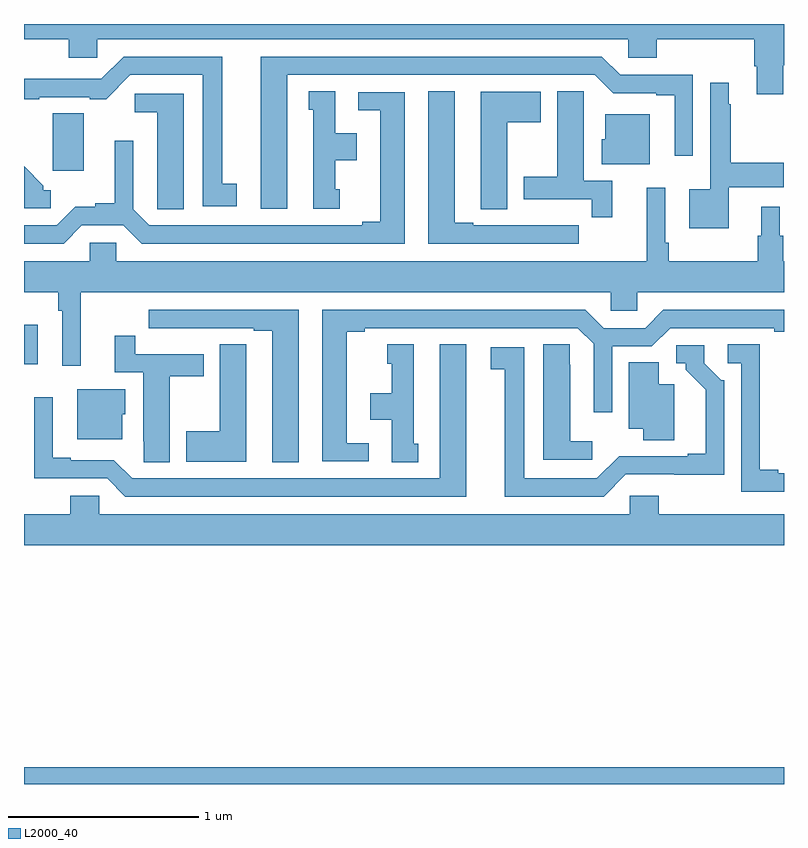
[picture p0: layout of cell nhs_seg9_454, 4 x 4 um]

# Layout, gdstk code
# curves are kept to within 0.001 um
import gdstk
lib = gdstk.Library(unit=1e-6, precision=1e-09)
def R(c, l, rs):  # rectangles x0, y0, x1, y1
    for r in rs: c.add(gdstk.rectangle(r[:2], r[2:], *l))
def P(c, l, *ps):  # polygons
    for p in ps: c.add(gdstk.Polygon(p, *l))
L2000_40 = (2000, 40)

nhs_seg9_454 = lib.new_cell('nhs_seg9_454')
R(nhs_seg9_454, L2000_40, [(133,1192.5,137,1192.588), (133,1194.71,133.072,1194.916)])
P(nhs_seg9_454, L2000_40, [(136.996,1196.283),(137,1196.283),(137,1196.5),(133,1196.5),(133,1196.42),(133.235,1196.42),(133.235,1196.322),(133.386,1196.322),(133.386,1196.42),(136.179,1196.42),(136.179,1196.322),(136.331,1196.322),(136.331,1196.42),(136.844,1196.42),(136.844,1196.278),(136.856,1196.278),(136.856,1196.13),(136.996,1196.13)],
  [(134.386,1196.232),(136.005,1196.232),(136.101,1196.136),(136.328,1196.136),(136.328,1196.124),(136.424,1196.124),(136.424,1195.806),(136.521,1195.806),(136.521,1196.232),(136.137,1196.232),(136.041,1196.328),(134.246,1196.328),(134.246,1195.527),(134.386,1195.527)],
  [(134.119,1195.658),(134.044,1195.658),(134.044,1196.328),(133.524,1196.328),(133.407,1196.211),(133.151,1196.211),(133.151,1196.213),(133,1196.213),(133,1196.103),(133.081,1196.103),(133.081,1196.115),(133.346,1196.115),(133.346,1196.104),(133.432,1196.104),(133.56,1196.232),(133.94,1196.232),(133.94,1195.542),(134.119,1195.542)],
  [(136.708,1195.64),(136.999,1195.64),(136.999,1195.77),(136.72,1195.77),(136.72,1196.078),(136.708,1196.078),(136.708,1196.191),(136.611,1196.191),(136.611,1195.63),(136.502,1195.63),(136.502,1195.424),(136.708,1195.424)],
  [(134.662,1195.629),(134.638,1195.629),(134.638,1195.784),(134.752,1195.784),(134.752,1195.924),(134.638,1195.924),(134.638,1196.147),(134.498,1196.147),(134.498,1196.049),(134.522,1196.049),(134.522,1195.527),(134.662,1195.527)],
  [(136.097,1195.674),(135.946,1195.674),(135.946,1196.036),(135.945,1196.036),(135.945,1196.147),(135.806,1196.147),(135.806,1195.695),(135.629,1195.695),(135.629,1195.578),(135.988,1195.578),(135.988,1195.482),(136.097,1195.482)],
  [(135.919,1195.44),(135.806,1195.44),(135.806,1195.441),(135.64,1195.441),(135.64,1195.44),(135.364,1195.44),(135.364,1195.455),(135.268,1195.455),(135.268,1196.147),(135.128,1196.147),(135.128,1195.344),(135.919,1195.344)],
  [(135.544,1195.984),(135.721,1195.984),(135.721,1196.143),(135.404,1196.143),(135.404,1195.633),(135.405,1195.633),(135.405,1195.525),(135.544,1195.525)],
  [(133.305,1195.44),(133.523,1195.44),(133.619,1195.344),(135.004,1195.344),(135.004,1196.142),(134.76,1196.142),(134.76,1196.046),(134.876,1196.046),(134.876,1195.46),(134.78,1195.46),(134.78,1195.44),(133.659,1195.44),(133.575,1195.524),(133.575,1195.885),(133.478,1195.885),(133.478,1195.556),(133.374,1195.556),(133.374,1195.538),(133.271,1195.538),(133.173,1195.44),(133,1195.44),(133,1195.344),(133.209,1195.344)],
  [(133.84,1196.133),(133.584,1196.133),(133.584,1196.036),(133.7,1196.036),(133.7,1195.633),(133.701,1195.633),(133.701,1195.525),(133.84,1195.525)],
  [(133.315,1195.872),(133.314,1195.872),(133.314,1196.03),(133.151,1196.03),(133.151,1195.728),(133.315,1195.728)],
  [(136.294,1196.026),(136.058,1196.026),(136.058,1195.893),(136.04,1195.893),(136.04,1195.763),(136.294,1195.763)],
  [(133.141,1195.626),(133.102,1195.626),(133.102,1195.65),(133,1195.751),(133,1195.53),(133.141,1195.53)],
  [(133.485,1195.35),(133.347,1195.35),(133.347,1195.252),(133,1195.252),(133,1195.088),(133.18,1195.088),(133.18,1194.992),(133.2,1194.992),(133.2,1194.702),(133.298,1194.702),(133.298,1195.088),(136.089,1195.088),(136.089,1194.99),(136.227,1194.99),(136.227,1195.088),(137,1195.088),(137,1195.252),(136.997,1195.252),(136.997,1195.386),(136.978,1195.386),(136.978,1195.537),(136.88,1195.537),(136.88,1195.386),(136.861,1195.386),(136.861,1195.252),(136.394,1195.252),(136.394,1195.348),(136.374,1195.348),(136.374,1195.639),(136.277,1195.639),(136.277,1195.252),(133.485,1195.252)],
  [(134.815,1194.294),(134.698,1194.294),(134.698,1194.88),(134.794,1194.88),(134.794,1194.9),(135.915,1194.9),(135.999,1194.816),(135.999,1194.456),(136.095,1194.456),(136.095,1194.804),(136.305,1194.804),(136.401,1194.9),(136.949,1194.9),(136.949,1194.88),(137,1194.88),(137,1194.996),(136.365,1194.996),(136.269,1194.9),(136.051,1194.9),(135.955,1194.996),(134.57,1194.996),(134.57,1194.198),(134.815,1194.198)],
  [(134.446,1194.996),(133.656,1194.996),(133.656,1194.9),(133.768,1194.9),(133.768,1194.899),(133.934,1194.899),(133.934,1194.9),(134.21,1194.9),(134.21,1194.885),(134.306,1194.885),(134.306,1194.193),(134.446,1194.193)],
  [(133.768,1194.646),(133.945,1194.646),(133.945,1194.762),(133.586,1194.762),(133.586,1194.859),(133.478,1194.859),(133.478,1194.666),(133.628,1194.666),(133.628,1194.304),(133.629,1194.304),(133.629,1194.193),(133.768,1194.193)],
  [(137,1194.135),(136.969,1194.135),(136.969,1194.155),(136.873,1194.155),(136.873,1194.815),(136.704,1194.815),(136.704,1194.714),(136.776,1194.714),(136.776,1194.039),(137,1194.039)],
  [(135.991,1194.304),(135.874,1194.304),(135.874,1194.707),(135.873,1194.707),(135.873,1194.815),(135.734,1194.815),(135.734,1194.207),(135.991,1194.207)],
  [(134.17,1194.707),(134.169,1194.707),(134.169,1194.815),(134.03,1194.815),(134.03,1194.357),(133.853,1194.357),(133.853,1194.197),(134.17,1194.197)],
  [(135.076,1194.291),(135.052,1194.291),(135.052,1194.814),(134.912,1194.814),(134.912,1194.711),(134.936,1194.711),(134.936,1194.556),(134.822,1194.556),(134.822,1194.416),(134.936,1194.416),(134.936,1194.193),(135.076,1194.193)],
  [(135.328,1194.814),(135.188,1194.814),(135.188,1194.108),(133.569,1194.108),(133.473,1194.204),(133.246,1194.204),(133.246,1194.217),(133.15,1194.217),(133.15,1194.535),(133.053,1194.535),(133.053,1194.108),(133.437,1194.108),(133.533,1194.012),(135.328,1194.012)],
  [(136.167,1194.129),(136.686,1194.128),(136.686,1194.624),(136.671,1194.624),(136.581,1194.714),(136.581,1194.81),(136.434,1194.81),(136.434,1194.714),(136.484,1194.714),(136.484,1194.679),(136.589,1194.574),(136.589,1194.238),(136.493,1194.238),(136.493,1194.225),(136.132,1194.226),(136.014,1194.108),(135.634,1194.108),(135.634,1194.798),(135.456,1194.798),(135.456,1194.682),(135.53,1194.682),(135.53,1194.012),(136.05,1194.012)],
  [(136.423,1194.604),(136.342,1194.604),(136.342,1194.719),(136.184,1194.719),(136.184,1194.371),(136.259,1194.371),(136.259,1194.31),(136.423,1194.31)],
  [(133.516,1194.447),(133.534,1194.447),(133.534,1194.577),(133.28,1194.577),(133.28,1194.314),(133.516,1194.314)],
  [(137,1193.92),(136.34,1193.92),(136.34,1194.018),(136.188,1194.018),(136.188,1193.92),(133.395,1193.92),(133.395,1194.018),(133.244,1194.018),(133.244,1193.92),(133,1193.92),(133,1193.756),(137,1193.756)])

lib.write_gds('nhs_seg9_454.gds')
